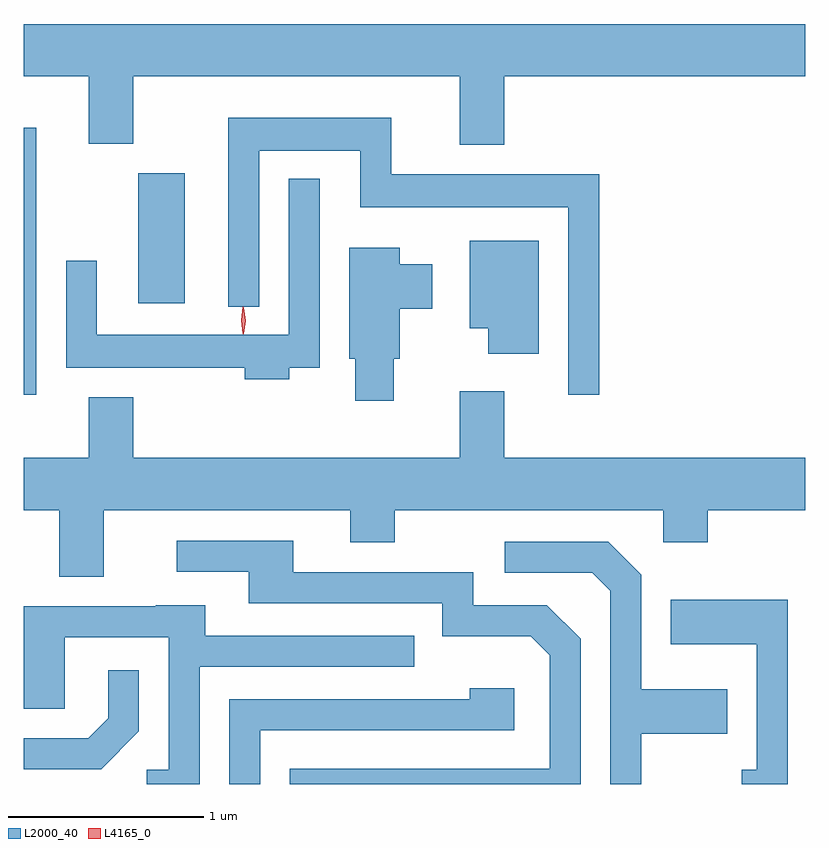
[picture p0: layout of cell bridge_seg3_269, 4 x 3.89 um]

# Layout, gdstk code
import gdstk
lib = gdstk.Library(unit=1e-6, precision=1e-09)
def R(c, l, rs):  # rectangles x0, y0, x1, y1
    for r in rs: c.add(gdstk.rectangle(r[:2], r[2:], *l))
def P(c, l, *ps):  # polygons
    for p in ps: c.add(gdstk.Polygon(p, *l))
L2000_40 = (2000, 40)
L4165_0 = (4165, 0)

bridge_seg3_269 = lib.new_cell('bridge_seg3_269')
R(bridge_seg3_269, L2000_40, [(1039.439,1135.488,1039.504,1136.854), (1040.026,1135.956,1040.264,1136.619)])
P(bridge_seg3_269, L2000_40, [(1041.899,1137.116),(1043.439,1137.116),(1043.439,1137.384),(1039.439,1137.384),(1039.439,1137.116),(1039.771,1137.116),(1039.771,1136.771),(1039.999,1136.771),(1039.999,1137.116),(1041.671,1137.116),(1041.671,1136.766),(1041.899,1136.766)],
  [(1042.384,1136.614),(1041.319,1136.614),(1041.319,1136.904),(1040.486,1136.904),(1040.486,1135.938),(1040.644,1135.938),(1040.644,1136.736),(1041.161,1136.736),(1041.161,1136.446),(1042.226,1136.446),(1042.226,1135.488),(1042.384,1135.488)],
  [(1040.799,1135.626),(1040.954,1135.626),(1040.954,1136.593),(1040.796,1136.593),(1040.796,1135.794),(1039.814,1135.794),(1039.814,1136.173),(1039.656,1136.173),(1039.656,1135.626),(1040.571,1135.626),(1040.571,1135.566),(1040.799,1135.566)],
  [(1042.074,1136.274),(1041.721,1136.274),(1041.721,1135.826),(1041.816,1135.826),(1041.816,1135.696),(1042.074,1135.696)],
  [(1041.334,1135.671),(1041.364,1135.671),(1041.364,1135.926),(1041.529,1135.926),(1041.529,1136.154),(1041.364,1136.154),(1041.364,1136.239),(1041.106,1136.239),(1041.106,1135.671),(1041.136,1135.671),(1041.136,1135.456),(1041.334,1135.456)],
  [(1039.771,1135.164),(1039.439,1135.164),(1039.439,1134.896),(1039.621,1134.896),(1039.621,1134.556),(1039.849,1134.556),(1039.849,1134.896),(1041.111,1134.896),(1041.111,1134.731),(1041.339,1134.731),(1041.339,1134.896),(1042.711,1134.896),(1042.711,1134.731),(1042.939,1134.731),(1042.939,1134.896),(1043.439,1134.896),(1043.439,1135.164),(1041.899,1135.164),(1041.899,1135.504),(1041.671,1135.504),(1041.671,1135.164),(1039.999,1135.164),(1039.999,1135.474),(1039.771,1135.474)],
  [(1042.289,1134.237),(1042.117,1134.409),(1041.739,1134.409),(1041.739,1134.579),(1040.819,1134.579),(1040.819,1134.739),(1040.223,1134.739),(1040.223,1134.581),(1040.591,1134.581),(1040.591,1134.421),(1041.581,1134.421),(1041.581,1134.251),(1042.034,1134.251),(1042.131,1134.154),(1042.131,1133.574),(1040.801,1133.574),(1040.801,1133.495),(1042.289,1133.495)],
  [(1042.599,1133.751),(1043.039,1133.751),(1043.039,1133.979),(1042.599,1133.979),(1042.599,1134.567),(1042.431,1134.734),(1041.902,1134.734),(1041.902,1134.576),(1042.349,1134.576),(1042.441,1134.484),(1042.441,1133.495),(1042.599,1133.495)],
  [(1043.349,1134.439),(1042.751,1134.439),(1042.751,1134.211),(1043.191,1134.211),(1043.191,1133.569),(1043.113,1133.569),(1043.113,1133.495),(1043.349,1133.495)],
  [(1040.339,1134.096),(1041.438,1134.096),(1041.438,1134.254),(1040.369,1134.254),(1040.369,1134.409),(1040.115,1134.409),(1040.115,1134.404),(1039.439,1134.404),(1039.439,1133.881),(1039.649,1133.881),(1039.649,1134.246),(1040.181,1134.246),(1040.181,1133.569),(1040.068,1133.569),(1040.068,1133.495),(1040.339,1133.495)],
  [(1040.029,1133.764),(1040.029,1134.078),(1039.871,1134.078),(1039.871,1133.832),(1039.769,1133.729),(1039.439,1133.729),(1039.439,1133.571),(1039.837,1133.571)],
  [(1040.649,1133.771),(1041.949,1133.771),(1041.949,1133.984),(1041.721,1133.984),(1041.721,1133.929),(1040.491,1133.929),(1040.491,1133.495),(1040.649,1133.495)])
P(bridge_seg3_269, L4165_0, [(1040.565,1135.799),(1040.564,1135.8),(1040.555,1135.866),(1040.564,1135.932),(1040.565,1135.933),(1040.565,1135.932),(1040.575,1135.866),(1040.565,1135.8)],
  [(1040.562,1135.797),(1040.561,1135.798),(1040.552,1135.867),(1040.561,1135.936),(1040.562,1135.936),(1040.562,1135.936),(1040.572,1135.867),(1040.562,1135.798)])

lib.write_gds('bridge_seg3_269.gds')
